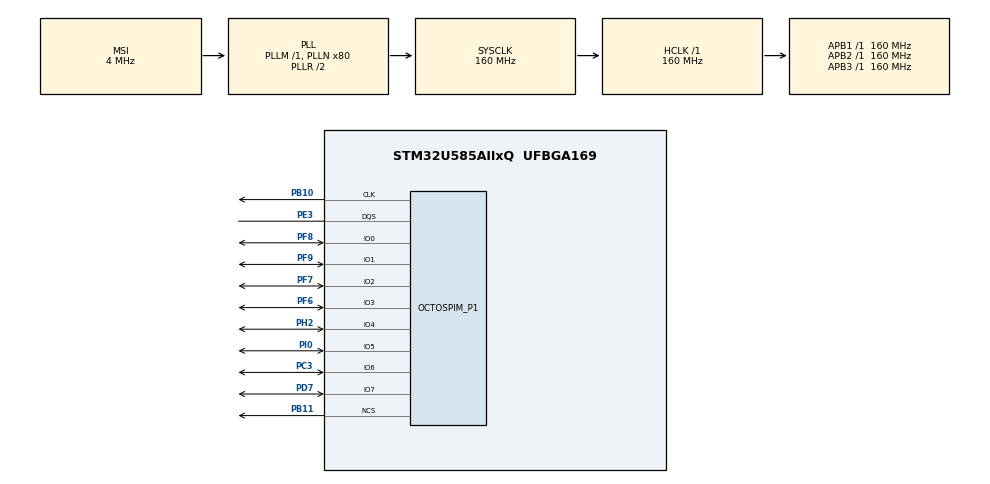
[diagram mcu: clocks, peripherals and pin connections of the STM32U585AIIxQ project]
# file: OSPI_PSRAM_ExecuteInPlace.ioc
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CORTEX_M33_NS.userName=CORTEX_M33
DCACHE1.DCACHE_Read_Burst_Type=DCACHE_READ_BURST_INCR
Mcu.Family=STM32U5
Mcu.Name=STM32U585AIIxQ
Mcu.Package=UFBGA169
NVIC.OCTOSPI1_IRQn=true\:0\:0\:false\:false\:true\:true\:true\:true
NVIC.PriorityGroup=NVIC_PRIORITYGROUP_4
OCTOSPI1.ChipSelectBoundary=0
OCTOSPI1.ClockPrescaler=2
OCTOSPI1.DelayBlockBypass=HAL_OSPI_DELAY_BLOCK_USED
OCTOSPI1.DelayHoldQuarterCycle=HAL_OSPI_DHQC_ENABLE
OCTOSPI1.DeviceSize=23
OCTOSPI1.MemoryType=HAL_OSPI_MEMTYPE_APMEMORY
OCTOSPI1.WrapSize=HAL_OSPI_WRAP_32_BYTES
PB10.GPIO_Speed_High_Default=GPIO_SPEED_FREQ_HIGH
PB10.Mode=O1_P1_CLK
PB10.Signal=OCTOSPIM_P1_CLK
PB11.GPIO_PuPd=GPIO_NOPULL
PB11.GPIO_Speed_High_Default=GPIO_SPEED_FREQ_HIGH
PB11.Mode=OCTOSPI1_Port1_NCS
PB11.Signal=OCTOSPIM_P1_NCS
PC3.GPIO_Speed_High_Default=GPIO_SPEED_FREQ_HIGH
PC3.Mode=OCTOSPI1_IOH_Port1H
PC3.Signal=OCTOSPIM_P1_IO6
PD7.GPIO_Speed_High_Default=GPIO_SPEED_FREQ_HIGH
PD7.Mode=OCTOSPI1_IOH_Port1H
PD7.Signal=OCTOSPIM_P1_IO7
PE3.GPIO_Speed_High_Default=GPIO_SPEED_FREQ_HIGH
PE3.Mode=OCTOSPI1_Port1_DQS
PE3.Signal=OCTOSPIM_P1_DQS
PF6.GPIO_Speed_High_Default=GPIO_SPEED_FREQ_HIGH
PF6.Mode=OCTOSPI1_IOL_Port1L
PF6.Signal=OCTOSPIM_P1_IO3
PF7.GPIO_Speed_High_Default=GPIO_SPEED_FREQ_HIGH
PF7.Mode=OCTOSPI1_IOL_Port1L
PF7.Signal=OCTOSPIM_P1_IO2
PF8.GPIO_Speed_High_Default=GPIO_SPEED_FREQ_HIGH
PF8.Mode=OCTOSPI1_IOL_Port1L
PF8.Signal=OCTOSPIM_P1_IO0
PF9.GPIO_Speed_High_Default=GPIO_SPEED_FREQ_HIGH
PF9.Mode=OCTOSPI1_IOL_Port1L
PF9.Signal=OCTOSPIM_P1_IO1
PH2.GPIO_Speed_High_Default=GPIO_SPEED_FREQ_HIGH
PH2.Mode=OCTOSPI1_IOH_Port1H
PH2.Signal=OCTOSPIM_P1_IO4
PI0.GPIO_Speed_High_Default=GPIO_SPEED_FREQ_HIGH
PI0.Mode=OCTOSPI1_IOH_Port1H
PI0.Signal=OCTOSPIM_P1_IO5
PWR.PowerMode=PWR_SMPS_SUPPLY
ProjectManager.HeapSize=0x200
ProjectManager.StackSize=0x400
ProjectManager.TargetToolchain=EWARM V8.50
RCC.ADCFreq_Value=16000000
RCC.AHBFreq_Value=160000000
RCC.APB1Freq_Value=160000000
RCC.APB1TimFreq_Value=160000000
RCC.APB2Freq_Value=160000000
RCC.APB2TimFreq_Value=160000000
RCC.APB3Freq_Value=160000000
RCC.CortexFreq_Value=160000000
RCC.DACCLockSelectionVirtual=RCC_DAC1CLKSOURCE_LSI
RCC.DACCLockSelectionVirtualString=RCC_DAC1CLKSOURCE_LSI
RCC.EPOD_VALUE=4000000
RCC.HCLKFreq_Value=160000000
RCC.HSE_VALUE=16000000
RCC.HSI48_VALUE=48000000
RCC.HSI_VALUE=16000000
RCC.LSE_VALUE=32768
RCC.LSIDIV_VALUE=32000
RCC.MSI_VALUE=4000000
RCC.PLLN=80
RCC.SYSCLKFreq_VALUE=160000000
RCC.SYSCLKSource=RCC_SYSCLKSOURCE_PLLCLK
RCC.USBFreq_Value=48000000
RCC.VCOOutputFreq_Value=320000000
VP_DCACHE1_VS_DCACHE.Mode=DCACHE_Activate
VP_ICACHE_VS_ICACHE.Mode=DirectMappedCache
VP_LPBAMQUEUE_VS_QUEUE.Mode=QUEUEMODE
VP_LPBAM_VS_SIG1.Mode=SmartRun
VP_LPBAM_VS_SIG4.Mode=LPDMA1
VP_OCTOSPI1_VS_octo.Mode=octo_mode
VP_PWR_VS_DBSignals.Mode=DisableDeadBatterySignals
VP_PWR_VS_LPOM.Mode=PowerOptimisation
VP_PWR_VS_SECSignals.Mode=Security/Privilege
board=custom

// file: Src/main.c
/* USER CODE BEGIN Header */
/**
  ******************************************************************************
  * @file           : main.c
  * @brief          : Main program body
  ******************************************************************************
  * @attention
  *
  * Copyright (c) 2021 STMicroelectronics.
  * All rights reserved.
  *
  * This software is licensed under terms that can be found in the LICENSE file
  * in the root directory of this software component.
  * If no LICENSE file comes with this software, it is provided AS-IS.
  *
  ******************************************************************************
  */
/* USER CODE END Header */
#include "main.h"

/* USER CODE BEGIN PM */
#if defined(__ARMCC_VERSION)
extern uint32_t Load$$OSPI_RAM$$Base;
extern uint32_t Load$$OSPI_RAM$$Length;
#elif defined(__ICCARM__)
#pragma section =".ospi_ram"
#pragma section =".ospi_ram_init"
#elif defined(__GNUC__)
extern uint32_t _ospi_ram_init_base;
extern uint32_t _ospi_ram_init_length;
#endif
/* USER CODE END PM */

DCACHE_HandleTypeDef hdcache1;

OSPI_HandleTypeDef hospi1;

/* USER CODE BEGIN PV */
__IO uint8_t CmdCplt;
LL_DLYB_CfgTypeDef dlyb_cfg,dlyb_cfg_test;
static void GpioToggle(void);
OSPI_MemoryMappedTypeDef sMemMappedCfg;
__IO uint8_t *mem_addr;
/* USER CODE END PV */

void SystemClock_Config(void);
static void SystemPower_Config(void);
static void MX_GPIO_Init(void);
static void MX_DCACHE1_Init(void);
static void MX_ICACHE_Init(void);
static void MX_OCTOSPI1_Init(void);
/* USER CODE BEGIN PFP */
HAL_StatusTypeDef OSPI_ClockConfig(OSPI_HandleTypeDef *hospi);

/* USER CODE END PFP */

int main(void)
{

  /* USER CODE BEGIN 1 */
  OSPI_RegularCmdTypeDef sCommand = {0};
  __IO uint8_t *ospi_addr = 0;
  uint8_t *flash_addr;
  uint32_t max_size;
  /* STM32U5xx HAL library initialization:
       - Configure the Flash prefetch
       - Configure the Systick to generate an interrupt each 1 msec
       - Set NVIC Group Priority to 3
       - Low Level Initialization
     */
  /* USER CODE END 1 */

  /* MCU Configuration--------------------------------------------------------*/

  /* Reset of all peripherals, Initializes the Flash interface and the Systick. */
  HAL_Init();

  /* Configure the System Power */
  SystemPower_Config();

  /* Configure the system clock */
  SystemClock_Config();

  /* USER CODE BEGIN SysInit */
  /* Configure LED6, LED7 */
  BSP_LED_Init(LED6);
  BSP_LED_Init(LED7);
  /* USER CODE END SysInit */

  /* Initialize all configured peripherals */
  MX_GPIO_Init();
  MX_DCACHE1_Init();
  MX_ICACHE_Init();
  MX_OCTOSPI1_Init();
  /* USER CODE BEGIN 2 */
  /* Delay block configuration ------------------------------------------------ */
  if (HAL_OSPI_DLYB_GetClockPeriod(&hospi1,&dlyb_cfg) != HAL_OK)
  {
    Error_Handler() ;
  }

  /*when DTR, PhaseSel is divided by 4 (emperic value)*/
  dlyb_cfg.PhaseSel /=4;

  /* save the present configuration for check*/
  dlyb_cfg_test = dlyb_cfg;

  /*set delay block configuration*/
  HAL_OSPI_DLYB_SetConfig(&hospi1,&dlyb_cfg);

  /*check the set value*/
  HAL_OSPI_DLYB_GetConfig(&hospi1,&dlyb_cfg);
  if ((dlyb_cfg.PhaseSel != dlyb_cfg_test.PhaseSel) || (dlyb_cfg.Units != dlyb_cfg_test.Units))
  {
    Error_Handler() ;
  }

  /* Configure PSRAM memory ***************************/
  sCommand.OperationType      = HAL_OSPI_OPTYPE_WRITE_CFG;
  sCommand.FlashId            = HAL_OSPI_FLASH_ID_1;
  sCommand.Instruction        = WRITE_CMD;
  sCommand.InstructionMode    = HAL_OSPI_INSTRUCTION_8_LINES;
  sCommand.InstructionSize    = HAL_OSPI_INSTRUCTION_8_BITS;
  sCommand.InstructionDtrMode = HAL_OSPI_INSTRUCTION_DTR_DISABLE;
  sCommand.AddressMode        = HAL_OSPI_ADDRESS_8_LINES;
  sCommand.AddressSize        = HAL_OSPI_ADDRESS_32_BITS;
  sCommand.AddressDtrMode     = HAL_OSPI_ADDRESS_DTR_ENABLE;
  sCommand.AlternateBytesMode = HAL_OSPI_ALTERNATE_BYTES_NONE;
  sCommand.DataMode           = HAL_OSPI_DATA_8_LINES;
  sCommand.DataDtrMode        = HAL_OSPI_DATA_DTR_ENABLE;
  sCommand.DummyCycles        = DUMMY_CLOCK_CYCLES_WRITE;
  sCommand.DQSMode            = HAL_OSPI_DQS_ENABLE;
  sCommand.SIOOMode           = HAL_OSPI_SIOO_INST_EVERY_CMD;

  if (HAL_OSPI_Command(&hospi1, &sCommand, HAL_OSPI_TIMEOUT_DEFAULT_VALUE) != HAL_OK)
  {
    Error_Handler();
  }

  sCommand.OperationType = HAL_OSPI_OPTYPE_READ_CFG;
  sCommand.Instruction   = READ_CMD;
  sCommand.DummyCycles   = DUMMY_CLOCK_CYCLES_READ;

  if (HAL_OSPI_Command(&hospi1, &sCommand, HAL_OSPI_TIMEOUT_DEFAULT_VALUE) != HAL_OK)
  {
    Error_Handler();
  }

  sMemMappedCfg.TimeOutActivation = HAL_OSPI_TIMEOUT_COUNTER_ENABLE;
  sMemMappedCfg.TimeOutPeriod     = 0x34;

  if (HAL_OSPI_MemoryMapped(&hospi1, &sMemMappedCfg) != HAL_OK)
  {
    Error_Handler();
  }

  /* Initialize the variables for the data writing -------------------------- */
  ospi_addr = (__IO uint8_t *)(OCTOSPI1_BASE);
#if defined(__ARMCC_VERSION)
  max_size = (uint32_t)(&Load$$OSPI_RAM$$Length);
  flash_addr = (uint8_t *)(&Load$$OSPI_RAM$$Base);
#elif defined(__ICCARM__)
  max_size = __section_size(".ospi_ram_init");
  flash_addr = (uint8_t *)(__section_begin(".ospi_ram_init"));
#elif defined(__GNUC__)
  max_size = (uint32_t)((uint8_t *)(&_ospi_ram_init_length));
  flash_addr = (uint8_t *)(&_ospi_ram_init_base);
#endif

  /* Writing Sequence ------------------------------------------------------- */
  for (; max_size > 0; max_size--, flash_addr++, ospi_addr++)
  {
    *ospi_addr = *flash_addr;
  }
  /* USER CODE END 2 */

  /* Infinite loop */
  /* USER CODE BEGIN WHILE */
  while (1)
  {
    /* Execute the code from OSPI PSRAM memory --------------------------- */
    GpioToggle();
    /* USER CODE END WHILE */

  }
}

void SystemClock_Config(void)
{
  RCC_OscInitTypeDef RCC_OscInitStruct = {0};
  RCC_ClkInitTypeDef RCC_ClkInitStruct = {0};

  /** Configure the main internal regulator output voltage
  */
  if (HAL_PWREx_ControlVoltageScaling(PWR_REGULATOR_VOLTAGE_SCALE1) != HAL_OK)
  {
    Error_Handler();
  }

  /** Initializes the CPU, AHB and APB buses clocks
  */
  RCC_OscInitStruct.OscillatorType = RCC_OSCILLATORTYPE_MSI;
  RCC_OscInitStruct.MSIState = RCC_MSI_ON;
  RCC_OscInitStruct.MSICalibrationValue = RCC_MSICALIBRATION_DEFAULT;
  RCC_OscInitStruct.MSIClockRange = RCC_MSIRANGE_4;
  RCC_OscInitStruct.PLL.PLLState = RCC_PLL_ON;
  RCC_OscInitStruct.PLL.PLLSource = RCC_PLLSOURCE_MSI;
  RCC_OscInitStruct.PLL.PLLMBOOST = RCC_PLLMBOOST_DIV1;
  RCC_OscInitStruct.PLL.PLLM = 1;
  RCC_OscInitStruct.PLL.PLLN = 80;
  RCC_OscInitStruct.PLL.PLLP = 2;
  RCC_OscInitStruct.PLL.PLLQ = 2;
  RCC_OscInitStruct.PLL.PLLR = 2;
  RCC_OscInitStruct.PLL.PLLRGE = RCC_PLLVCIRANGE_0;
  RCC_OscInitStruct.PLL.PLLFRACN = 0;
  if (HAL_RCC_OscConfig(&RCC_OscInitStruct) != HAL_OK)
  {
    Error_Handler();
  }

  /** Initializes the CPU, AHB and APB buses clocks
  */
  RCC_ClkInitStruct.ClockType = RCC_CLOCKTYPE_HCLK|RCC_CLOCKTYPE_SYSCLK
                              |RCC_CLOCKTYPE_PCLK1|RCC_CLOCKTYPE_PCLK2
                              |RCC_CLOCKTYPE_PCLK3;
  RCC_ClkInitStruct.SYSCLKSource = RCC_SYSCLKSOURCE_PLLCLK;
  RCC_ClkInitStruct.AHBCLKDivider = RCC_SYSCLK_DIV1;
  RCC_ClkInitStruct.APB1CLKDivider = RCC_HCLK_DIV1;
  RCC_ClkInitStruct.APB2CLKDivider = RCC_HCLK_DIV1;
  RCC_ClkInitStruct.APB3CLKDivider = RCC_HCLK_DIV1;

  if (HAL_RCC_ClockConfig(&RCC_ClkInitStruct, FLASH_LATENCY_4) != HAL_OK)
  {
    Error_Handler();
  }
}

/**
  * @brief Power Configuration
  * @retval None
  */
static void SystemPower_Config(void)
{

  /*
   * Disable the internal Pull-Up in Dead Battery pins of UCPD peripheral
   */
  HAL_PWREx_DisableUCPDDeadBattery();

  /*
   * Switch to SMPS regulator instead of LDO
   */
  if (HAL_PWREx_ConfigSupply(PWR_SMPS_SUPPLY) != HAL_OK)
  {
    Error_Handler();
  }
}

static void MX_DCACHE1_Init(void)
{

  hdcache1.Instance = DCACHE1;
  hdcache1.Init.ReadBurstType = DCACHE_READ_BURST_INCR;
  if (HAL_DCACHE_Init(&hdcache1) != HAL_OK)
  {
    Error_Handler();
  }

}

static void MX_ICACHE_Init(void)
{

  /** Enable instruction cache in 1-way (direct mapped cache)
  */
  if (HAL_ICACHE_ConfigAssociativityMode(ICACHE_1WAY) != HAL_OK)
  {
    Error_Handler();
  }
  if (HAL_ICACHE_Enable() != HAL_OK)
  {
    Error_Handler();
  }

}

static void MX_OCTOSPI1_Init(void)
{

  OSPIM_CfgTypeDef sOspiManagerCfg = {0};
  HAL_OSPI_DLYB_CfgTypeDef HAL_OSPI_DLYB_Cfg_Struct = {0};

  /* OCTOSPI1 parameter configuration*/
  hospi1.Instance = OCTOSPI1;
  hospi1.Init.FifoThreshold = 1;
  hospi1.Init.DualQuad = HAL_OSPI_DUALQUAD_DISABLE;
  hospi1.Init.MemoryType = HAL_OSPI_MEMTYPE_APMEMORY;
  hospi1.Init.DeviceSize = 23;
  hospi1.Init.ChipSelectHighTime = 1;
  hospi1.Init.FreeRunningClock = HAL_OSPI_FREERUNCLK_DISABLE;
  hospi1.Init.ClockMode = HAL_OSPI_CLOCK_MODE_0;
  hospi1.Init.WrapSize = HAL_OSPI_WRAP_32_BYTES;
  hospi1.Init.ClockPrescaler = 2;
  hospi1.Init.SampleShifting = HAL_OSPI_SAMPLE_SHIFTING_NONE;
  hospi1.Init.DelayHoldQuarterCycle = HAL_OSPI_DHQC_ENABLE;
  hospi1.Init.ChipSelectBoundary = 0;
  hospi1.Init.DelayBlockBypass = HAL_OSPI_DELAY_BLOCK_USED;
  hospi1.Init.MaxTran = 0;
  hospi1.Init.Refresh = 0;
  if (HAL_OSPI_Init(&hospi1) != HAL_OK)
  {
    Error_Handler();
  }
  sOspiManagerCfg.ClkPort = 1;
  sOspiManagerCfg.DQSPort = 1;
  sOspiManagerCfg.NCSPort = 1;
  sOspiManagerCfg.IOLowPort = HAL_OSPIM_IOPORT_1_LOW;
  sOspiManagerCfg.IOHighPort = HAL_OSPIM_IOPORT_1_HIGH;
  if (HAL_OSPIM_Config(&hospi1, &sOspiManagerCfg, HAL_OSPI_TIMEOUT_DEFAULT_VALUE) != HAL_OK)
  {
    Error_Handler();
  }
  HAL_OSPI_DLYB_Cfg_Struct.Units = 0;
  HAL_OSPI_DLYB_Cfg_Struct.PhaseSel = 0;
  if (HAL_OSPI_DLYB_SetConfig(&hospi1, &HAL_OSPI_DLYB_Cfg_Struct) != HAL_OK)
  {
    Error_Handler();
  }

}

static void MX_GPIO_Init(void)
{

  /* GPIO Ports Clock Enable */
  __HAL_RCC_GPIOI_CLK_ENABLE();
  __HAL_RCC_GPIOE_CLK_ENABLE();
  __HAL_RCC_GPIOD_CLK_ENABLE();
  __HAL_RCC_GPIOF_CLK_ENABLE();
  __HAL_RCC_GPIOH_CLK_ENABLE();
  __HAL_RCC_GPIOC_CLK_ENABLE();
  __HAL_RCC_GPIOB_CLK_ENABLE();

}

/* USER CODE BEGIN 4 */
/**
* @brief  Command completed callback.
  * @param  hospi: OSPI handle
  * @retval None
  */
void HAL_OSPI_CmdCpltCallback(OSPI_HandleTypeDef *hospi)
{
  CmdCplt++;
}

/**
  * @brief  Transfer Error callback.
  * @param  hospi: OSPI handle
  * @retval None
  */
void HAL_OSPI_ErrorCallback(OSPI_HandleTypeDef *hospi)
{
  Error_Handler();
}

/**
  * @brief  Toggle the GPIOs
  * @param  None
  * @retval None
  */
#if defined(__ICCARM__)
static void GpioToggle(void) @ ".ospi_ram"
#elif defined(__ARMCC_VERSION) || defined(__GNUC__)
static void __attribute__((section(".ospi_ram"), noinline)) GpioToggle(void)
#endif
{
  BSP_LED_Toggle(LED7);
  /* Insert delay 100 ms */
  HAL_Delay(100);
}
/* USER CODE END 4 */

void Error_Handler(void)
{
  /* USER CODE BEGIN Error_Handler_Debug */
  /* User can add his own implementation to report the HAL error return state */
  __disable_irq();
  while (1)
  {
    HAL_Delay(100);
    BSP_LED_Toggle(LED6);
  }
  /* USER CODE END Error_Handler_Debug */
}
